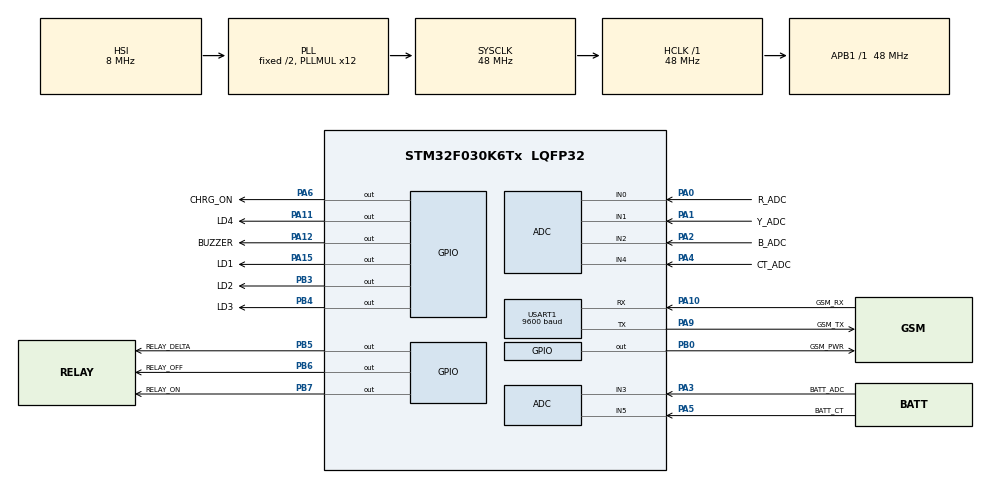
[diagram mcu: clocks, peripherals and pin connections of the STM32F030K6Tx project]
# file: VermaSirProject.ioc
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Mcu.Family=STM32F0
Mcu.Name=STM32F030K6Tx
Mcu.Package=LQFP32
NVIC.TIM16_IRQn=true\:0\:0\:false\:false\:true\:true\:true\:true
NVIC.TIM17_IRQn=true\:0\:0\:false\:false\:true\:true\:true\:true
NVIC.USART1_IRQn=true\:0\:0\:false\:false\:true\:true\:true\:true
PA0.GPIO_Label=R_ADC
PA0.Mode=IN0
PA0.Signal=ADC_IN0
PA1.GPIO_Label=Y_ADC
PA1.Mode=IN1
PA1.Signal=ADC_IN1
PA10.GPIO_Label=GSM_RX
PA10.Mode=Asynchronous
PA10.Signal=USART1_RX
PA11.GPIO_Label=LD4
PA11.Signal=GPIO_Output
PA12.GPIO_Label=BUZZER
PA12.Signal=GPIO_Output
PA13.Mode=Serial_Wire
PA13.Signal=SYS_SWDIO
PA14.Mode=Serial_Wire
PA14.Signal=SYS_SWCLK
PA15.GPIO_Label=LD1
PA15.Signal=GPIO_Output
PA2.GPIO_Label=B_ADC
PA2.Mode=IN2
PA2.Signal=ADC_IN2
PA3.GPIO_Label=BATT_ADC
PA3.Mode=IN3
PA3.Signal=ADC_IN3
PA4.GPIO_Label=CT_ADC
PA4.Mode=IN4
PA4.Signal=ADC_IN4
PA5.GPIO_Label=BATT_CT
PA5.Mode=IN5
PA5.Signal=ADC_IN5
PA6.GPIO_Label=CHRG_ON
PA6.Signal=GPIO_Output
PA9.GPIO_Label=GSM_TX
PA9.Mode=Asynchronous
PA9.Signal=USART1_TX
PB0.GPIO_Label=GSM_PWR
PB0.Signal=GPIO_Output
PB3.GPIO_Label=LD2
PB3.Signal=GPIO_Output
PB4.GPIO_Label=LD3
PB4.Signal=GPIO_Output
PB5.GPIO_Label=RELAY_DELTA
PB5.Signal=GPIO_Output
PB6.GPIO_Label=RELAY_OFF
PB6.Signal=GPIO_Output
PB7.GPIO_Label=RELAY_ON
PB7.Signal=GPIO_Output
ProjectManager.HeapSize=0x200
ProjectManager.StackSize=0x400
ProjectManager.TargetToolchain=EWARM V7
RCC.AHBFreq_Value=48000000
RCC.APB1Freq_Value=48000000
RCC.APB1TimFreq_Value=48000000
RCC.HCLKFreq_Value=48000000
RCC.PLLMUL=RCC_PLL_MUL12
RCC.SYSCLKFreq_VALUE=48000000
RCC.SYSCLKSource=RCC_SYSCLKSOURCE_PLLCLK
TIM16.Period=1000
TIM16.Prescaler=480
TIM17.AutoReloadPreload=TIM_AUTORELOAD_PRELOAD_ENABLE
TIM17.Period=1000
TIM17.Prescaler=480
TIM3.Period=1000
TIM3.Prescaler=480
USART1.BaudRate=9600
USART1.VirtualMode-Asynchronous=VM_ASYNC
VP_TIM16_VS_ClockSourceINT.Mode=Enable_Timer
VP_TIM17_VS_ClockSourceINT.Mode=Enable_Timer
VP_TIM3_VS_ClockSourceINT.Mode=Internal
board=custom

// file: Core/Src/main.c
/* USER CODE BEGIN Header */
/**
  ******************************************************************************
  * @file           : main.c
  * @brief          : Main program body
  ******************************************************************************
  * @attention
  *
  * Copyright (c) 2024 STMicroelectronics.
  * All rights reserved.
  *
  * This software is licensed under terms that can be found in the LICENSE file
  * in the root directory of this software component.
  * If no LICENSE file comes with this software, it is provided AS-IS.
  *
  ******************************************************************************
  */
/* USER CODE END Header */

/* USER CODE BEGIN Includes */
#include "variables.h"
/* USER CODE END Includes */

/* USER CODE BEGIN PV */
//M66GSM_Handler Parameter
_Bool M66_GSM_TIMER_BIT = 0;
_Bool Sent_Completed = 0 ;
_Bool Send_SMS = 0 ;

//ADC Variable

uint8_t RX_DUMMY[2];
uint16_t counter = 0 ;
/* USER CODE END PV */

void SystemClock_Config(void);

int main(void)
{

  /* MCU Configuration--------------------------------------------------------*/

  /* Reset of all peripherals, Initializes the Flash interface and the Systick. */
  HAL_Init();

  /* Configure the system clock */
  SystemClock_Config();

  /* Initialize all configured peripherals */
  MX_GPIO_Init();
  MX_ADC_Init();
  MX_USART1_UART_Init();
  MX_TIM3_Init();
  MX_TIM16_Init();
  MX_TIM17_Init();
  /* USER CODE BEGIN 2 */
  // ALl the Interrupts Here//
  Mc66GSM__Initialize();
  HAL_TIM_Base_Start_IT(&htim17);
  HAL_TIM_Base_Start_IT(&htim16);
  HAL_UART_Receive_IT(&huart1,&RX_DUMMY[0],1);
  HAL_Delay(5000);

  /* USER CODE END 2 */

  /* Infinite loop */
  while (1)
  {

    // Operational commands only . No Checking Here will operate here...

    /* USER CODE BEGIN 3 */
    if(Send_SMS == 1 )
    {
      if(MC66GSM__GetServiceRunning() == GSM_RUNING_CALLBACK)
      {
        SmsAppendMode = 0;
       memcpy(Messagebox,"Hi Verma sir\r\n",12);
       Mc66GSM__SMSReadCallBack("6387000075",Messagebox);
      }
      Send_SMS = 0;
    }

     if(M66_GSM_TIMER_BIT ==1 )
    {
      Mc66GSM__Handler();
      M66_GSM_TIMER_BIT = 0;
      AppsCmd_GsmSMSAppending();
      AppsEventOrganizer__Handler();
    }

  }
  /* USER CODE END 3 */
}

void SystemClock_Config(void)
{
  RCC_OscInitTypeDef RCC_OscInitStruct = {0};
  RCC_ClkInitTypeDef RCC_ClkInitStruct = {0};
  RCC_PeriphCLKInitTypeDef PeriphClkInit = {0};

  /** Initializes the RCC Oscillators according to the specified parameters
  * in the RCC_OscInitTypeDef structure.
  */
  RCC_OscInitStruct.OscillatorType = RCC_OSCILLATORTYPE_HSI|RCC_OSCILLATORTYPE_HSI14;
  RCC_OscInitStruct.HSIState = RCC_HSI_ON;
  RCC_OscInitStruct.HSI14State = RCC_HSI14_ON;
  RCC_OscInitStruct.HSICalibrationValue = RCC_HSICALIBRATION_DEFAULT;
  RCC_OscInitStruct.HSI14CalibrationValue = 16;
  RCC_OscInitStruct.PLL.PLLState = RCC_PLL_ON;
  RCC_OscInitStruct.PLL.PLLSource = RCC_PLLSOURCE_HSI;
  RCC_OscInitStruct.PLL.PLLMUL = RCC_PLL_MUL12;
  RCC_OscInitStruct.PLL.PREDIV = RCC_PREDIV_DIV1;
  if (HAL_RCC_OscConfig(&RCC_OscInitStruct) != HAL_OK)
  {
    Error_Handler();
  }

  /** Initializes the CPU, AHB and APB buses clocks
  */
  RCC_ClkInitStruct.ClockType = RCC_CLOCKTYPE_HCLK|RCC_CLOCKTYPE_SYSCLK
                              |RCC_CLOCKTYPE_PCLK1;
  RCC_ClkInitStruct.SYSCLKSource = RCC_SYSCLKSOURCE_PLLCLK;
  RCC_ClkInitStruct.AHBCLKDivider = RCC_SYSCLK_DIV1;
  RCC_ClkInitStruct.APB1CLKDivider = RCC_HCLK_DIV1;

  if (HAL_RCC_ClockConfig(&RCC_ClkInitStruct, FLASH_LATENCY_1) != HAL_OK)
  {
    Error_Handler();
  }
  PeriphClkInit.PeriphClockSelection = RCC_PERIPHCLK_USART1;
  PeriphClkInit.Usart1ClockSelection = RCC_USART1CLKSOURCE_PCLK1;
  if (HAL_RCCEx_PeriphCLKConfig(&PeriphClkInit) != HAL_OK)
  {
    Error_Handler();
  }
}

/* USER CODE BEGIN 4 */

void HAL_TIM_PeriodElapsedCallback(TIM_HandleTypeDef *htim)
{
  if(htim == &htim16)
  {
     // 0.2 ms (milis)
    AppsTimer__UpdateHandler();

  }
  else if (htim == &htim17)
  {
    // 10ms
    if(counter++ >= 50)
    {

      M66_GSM_TIMER_BIT = 1;
       counter = 0;
    }

  }
}

void HAL_UART_RxCpltCallback(UART_HandleTypeDef *huart)
{
  if(huart == &huart1)
  {
    Mc66GSM__ResponseIncomingBuffering(RX_DUMMY[0]);
  }
  HAL_UART_Receive_IT(&huart1,&RX_DUMMY[0],1);
}

/* USER CODE END 4 */

void Error_Handler(void)
{
  __disable_irq();
  while (1)
  {
  }
}
